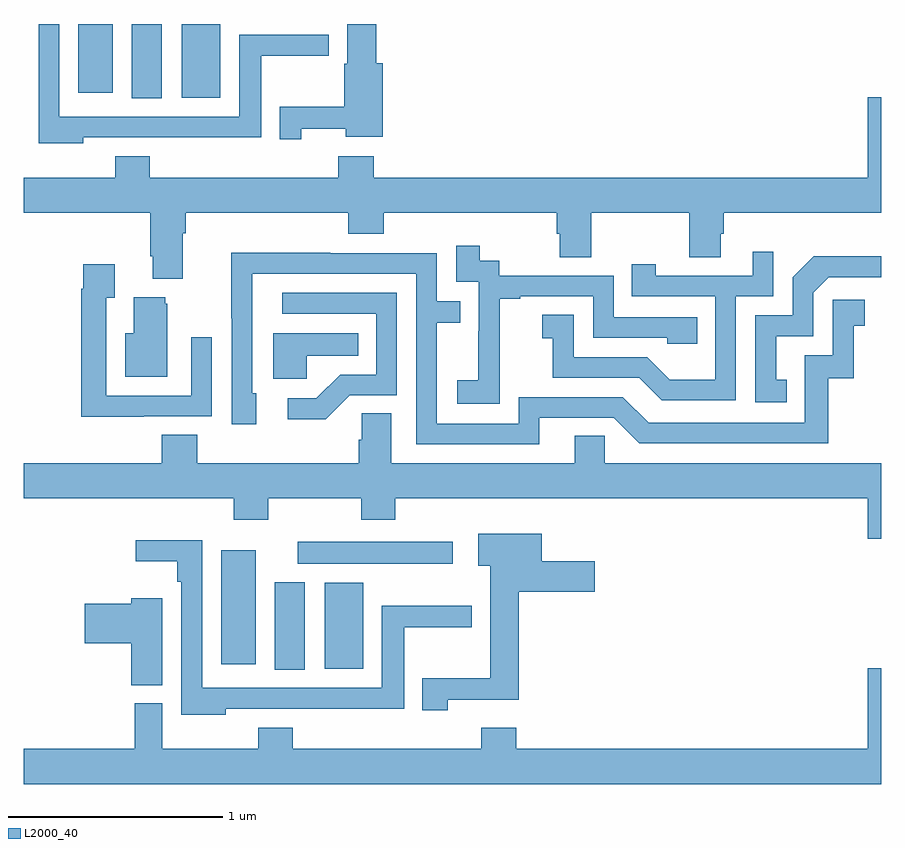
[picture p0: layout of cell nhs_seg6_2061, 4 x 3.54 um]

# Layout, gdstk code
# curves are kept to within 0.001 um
import gdstk
lib = gdstk.Library(unit=1e-6, precision=1e-09)
def R(c, l, rs):  # rectangles x0, y0, x1, y1
    for r in rs: c.add(gdstk.rectangle(r[:2], r[2:], *l))
def P(c, l, *ps):  # polygons
    for p in ps: c.add(gdstk.Polygon(p, *l))
L2000_40 = (2000, 40)

nhs_seg6_2061 = lib.new_cell('nhs_seg6_2061')
R(nhs_seg6_2061, L2000_40, [(234.17,994.489,234.31,994.897), (234.404,994.493,234.583,994.894), (233.921,994.515,234.082,995.047), (234.279,994.982,235,995.086), (233.504,997.153,233.644,997.5), (233.738,997.157,233.917,997.5), (233.255,997.179,233.416,997.5)])
P(nhs_seg6_2061, L2000_40, [(234.294,997.012),(234.503,997.012),(234.503,996.974),(234.674,996.974),(234.674,997.318),(234.644,997.318),(234.644,997.5),(234.509,997.5),(234.509,997.314),(234.496,997.314),(234.496,997.113),(234.194,997.113),(234.194,996.963),(234.294,996.963)],
  [(233.277,996.972),(233.671,996.972),(233.671,996.971),(234.109,996.971),(234.109,997.351),(234.424,997.351),(234.424,997.451),(234.005,997.451),(234.005,997.068),(233.166,997.068),(233.166,997.5),(233.07,997.5),(233.07,996.944),(233.277,996.944)],
  [(233.588,996.883),(233.428,996.883),(233.428,996.784),(233,996.784),(233,996.62),(233.591,996.62),(233.591,996.418),(233.603,996.418),(233.603,996.311),(233.743,996.311),(233.743,996.524),(233.756,996.524),(233.756,996.62),(234.515,996.62),(234.515,996.521),(234.68,996.521),(234.68,996.62),(235.487,996.62),(235.487,996.522),(235.499,996.522),(235.499,996.412),(235.647,996.412),(235.647,996.62),(236.104,996.62),(236.104,996.412),(236.251,996.412),(236.251,996.522),(236.264,996.522),(236.264,996.62),(237,996.62),(237,997.159),(236.936,997.159),(236.936,996.784),(234.632,996.784),(234.632,996.883),(234.467,996.883),(234.467,996.784),(233.588,996.784)],
  [(235.221,995.935),(235.22,995.935),(235.22,996.219),(235.315,996.219),(235.315,996.231),(235.656,996.231),(235.656,996.036),(236.001,996.036),(236.001,996.009),(236.141,996.009),(236.141,996.132),(235.752,996.132),(235.752,996.327),(235.218,996.327),(235.218,996.396),(235.126,996.396),(235.126,996.466),(235.017,996.466),(235.017,996.297),(235.122,996.297),(235.122,996.068),(235.121,996.068),(235.121,995.839),(235.023,995.839),(235.023,995.729),(235.221,995.729)],
  [(236.322,996.231),(236.496,996.231),(236.496,996.439),(236.399,996.439),(236.399,996.327),(235.948,996.327),(235.948,996.379),(235.837,996.379),(235.837,996.231),(236.226,996.231),(236.226,995.842),(236.012,995.842),(235.908,995.946),(235.566,995.946),(235.566,996.145),(235.419,996.145),(235.419,996.035),(235.468,996.035),(235.468,995.85),(235.871,995.85),(235.976,995.745),(236.322,995.745)],
  [(235.405,995.664),(235.752,995.664),(235.872,995.544),(236.752,995.544),(236.752,995.847),(236.87,995.847),(236.87,996.093),(236.923,996.093),(236.923,996.214),(236.772,996.214),(236.772,995.955),(236.643,995.955),(236.643,995.64),(235.914,995.64),(235.794,995.76),(235.308,995.76),(235.308,995.637),(234.927,995.637),(234.927,996.106),(235.037,996.106),(235.037,996.207),(234.927,996.207),(234.927,996.432),(234.431,996.432),(234.431,996.434),(233.968,996.434),(233.968,996.127),(233.97,996.127),(233.97,995.634),(234.085,995.634),(234.085,995.778),(234.066,995.778),(234.067,996.336),(234.831,996.336),(234.831,995.541),(235.405,995.541)],
  [(236.558,995.841),(236.509,995.841),(236.509,996.045),(236.682,996.045),(236.682,996.246),(236.754,996.318),(237,996.318),(237,996.416),(236.684,996.416),(236.586,996.318),(236.586,996.141),(236.412,996.141),(236.412,995.736),(236.558,995.736)],
  [(233.561,995.67),(233.877,995.67),(233.877,996.04),(233.781,996.04),(233.781,995.766),(233.385,995.766),(233.385,996.223),(233.425,996.223),(233.425,996.379),(233.277,996.379),(233.277,996.266),(233.269,996.266),(233.269,995.669),(233.561,995.669)],
  [(234.522,995.769),(234.741,995.769),(234.741,996.246),(234.207,996.246),(234.207,996.15),(234.645,996.15),(234.645,995.865),(234.476,995.865),(234.365,995.754),(234.231,995.754),(234.231,995.657),(234.409,995.657)],
  [(233.671,996.195),(233.66,996.195),(233.66,996.226),(233.513,996.226),(233.513,996.058),(233.474,996.058),(233.474,995.855),(233.671,995.855)],
  [(234.321,995.954),(234.56,995.954),(234.56,996.058),(234.164,996.058),(234.164,995.846),(234.321,995.846)],
  [(237,995.452),(235.71,995.452),(235.71,995.579),(235.571,995.579),(235.571,995.452),(234.715,995.452),(234.715,995.684),(234.576,995.684),(234.576,995.561),(234.563,995.561),(234.563,995.452),(233.81,995.452),(233.81,995.585),(233.645,995.585),(233.645,995.452),(233,995.452),(233,995.288),(233.981,995.288),(233.981,995.189),(234.141,995.189),(234.141,995.288),(234.574,995.288),(234.574,995.189),(234.734,995.189),(234.734,995.288),(236.936,995.288),(236.936,995.1),(237,995.1)],
  [(234.978,994.349),(235.31,994.349),(235.31,994.853),(235.663,994.853),(235.663,994.995),(235.417,994.995),(235.417,995.122),(235.119,995.122),(235.119,994.973),(235.175,994.973),(235.175,994.449),(234.86,994.449),(234.86,994.299),(234.978,994.299)],
  [(233.943,994.308),(234.337,994.308),(234.337,994.307),(234.775,994.307),(234.775,994.687),(235.09,994.687),(235.09,994.787),(234.671,994.787),(234.671,994.404),(233.832,994.404),(233.832,995.093),(233.523,995.093),(233.523,994.994),(233.716,994.994),(233.716,994.898),(233.736,994.898),(233.736,994.28),(233.943,994.28)],
  [(233.647,994.822),(233.501,994.822),(233.501,994.796),(233.286,994.796),(233.286,994.613),(233.501,994.613),(233.501,994.417),(233.647,994.417)],
  [(237,994.495),(236.936,994.495),(236.936,994.12),(235.298,994.12),(235.298,994.219),(235.133,994.219),(235.133,994.12),(234.254,994.12),(234.254,994.219),(234.094,994.219),(234.094,994.12),(233.647,994.12),(233.647,994.332),(233.519,994.332),(233.519,994.12),(233,994.12),(233,993.956),(237,993.956)])

lib.write_gds('nhs_seg6_2061.gds')
